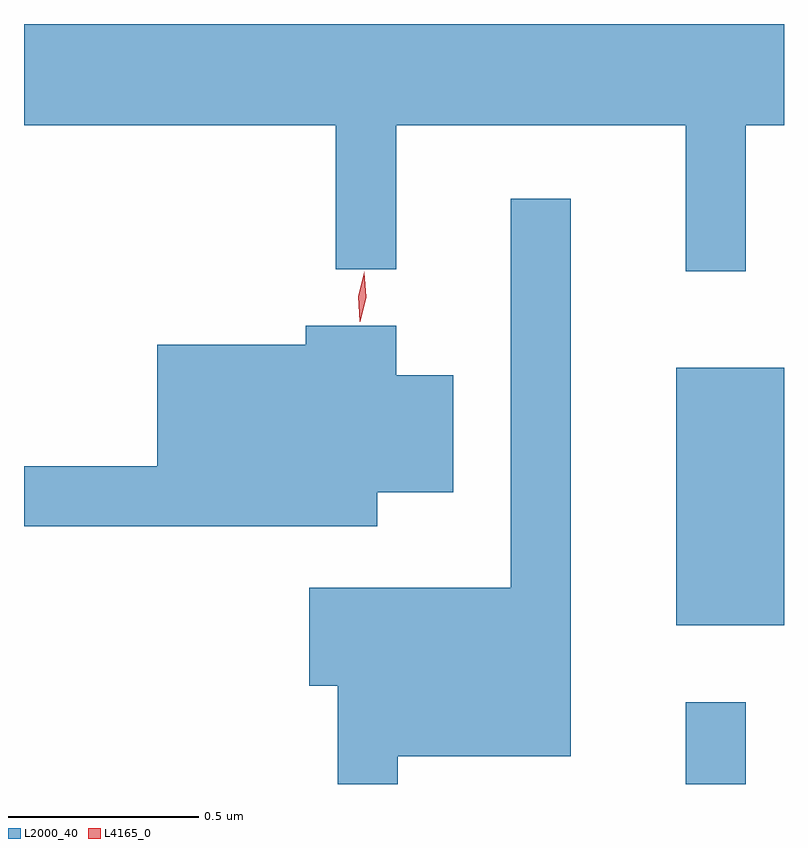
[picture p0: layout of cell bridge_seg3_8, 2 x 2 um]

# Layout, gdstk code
import gdstk
lib = gdstk.Library(unit=1e-6, precision=1e-09)
def R(c, l, rs):  # rectangles x0, y0, x1, y1
    for r in rs: c.add(gdstk.rectangle(r[:2], r[2:], *l))
def P(c, l, *ps):  # polygons
    for p in ps: c.add(gdstk.Polygon(p, *l))
L2000_40 = (2000, 40)
L4165_0 = (4165, 0)

bridge_seg3_8 = lib.new_cell('bridge_seg3_8')
R(bridge_seg3_8, L2000_40, [(1865.746,1119.843,1865.904,1120.058), (1865.721,1120.261,1866.005,1120.939)])
P(bridge_seg3_8, L2000_40, [(1865.904,1121.576),(1866.005,1121.576),(1866.005,1121.843),(1864.005,1121.843),(1864.005,1121.576),(1864.826,1121.576),(1864.826,1121.198),(1864.984,1121.198),(1864.984,1121.576),(1865.746,1121.576),(1865.746,1121.193),(1865.904,1121.193)],
  [(1864.989,1119.916),(1865.444,1119.916),(1865.444,1121.383),(1865.286,1121.383),(1865.286,1120.359),(1864.756,1120.359),(1864.756,1120.101),(1864.831,1120.101),(1864.831,1119.843),(1864.989,1119.843)],
  [(1864.934,1120.611),(1865.134,1120.611),(1865.134,1120.919),(1864.984,1120.919),(1864.984,1121.049),(1864.746,1121.049),(1864.746,1120.999),(1864.356,1120.999),(1864.356,1120.679),(1864.005,1120.679),(1864.005,1120.521),(1864.934,1120.521)])
P(bridge_seg3_8, L4165_0, [(1864.889,1121.06),(1864.885,1121.126),(1864.9,1121.19),(1864.9,1121.191),(1864.901,1121.19),(1864.905,1121.124),(1864.89,1121.06),(1864.89,1121.06)])

lib.write_gds('bridge_seg3_8.gds')
